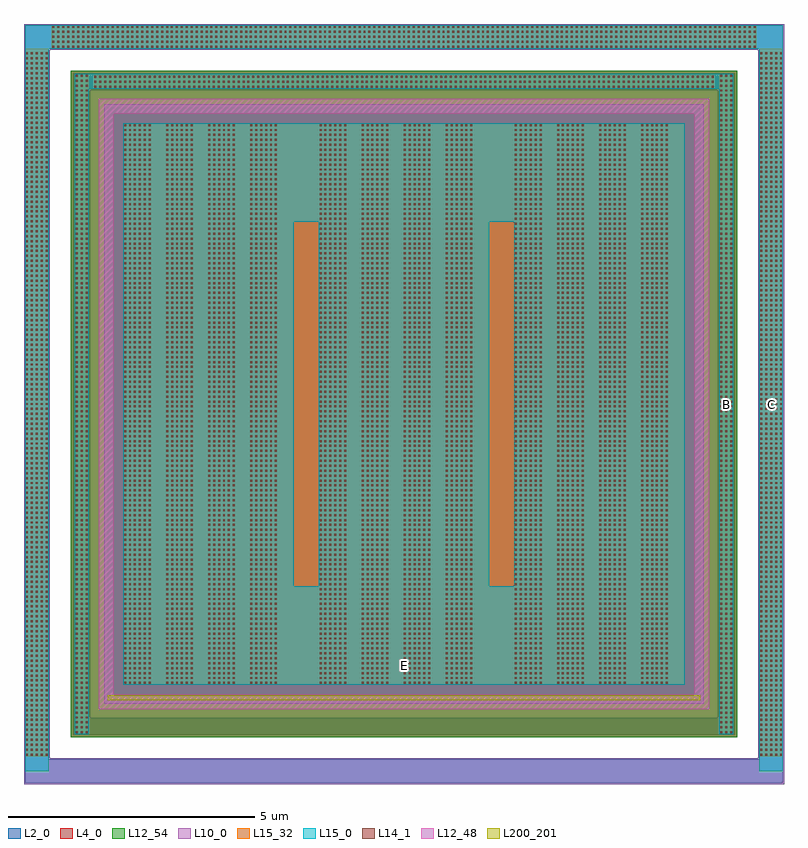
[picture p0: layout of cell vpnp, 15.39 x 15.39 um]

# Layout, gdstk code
import gdstk
lib = gdstk.Library(unit=1e-6, precision=1e-09)
def R(c, l, rs):  # rectangles x0, y0, x1, y1
    for r in rs: c.add(gdstk.rectangle(r[:2], r[2:], *l))
def A(c, l, x, y, w, h, nx, ny, dx, dy):  # array of equal rectangles
    R(c, l, [(x+i*dx, y+j*dy, x+i*dx+w, y+j*dy+h) for i in range(nx) for j in range(ny)])
L2_0 = (2, 0)
L4_0 = (4, 0)
L10_0 = (10, 0)
L12_48 = (12, 48)
L12_54 = (12, 54)
L14_1 = (14, 1)
L15_0 = (15, 0)
L15_32 = (15, 32)
L200_201 = (200, 201)

vpnp = lib.new_cell('vpnp')
R(vpnp, L2_0, [(-14.179,-6.209,1.173,-5.729), (-14.179,-5.729,-13.699,8.663), (0.693,-5.729,1.173,8.663), (-13.199,-5.229,0.193,-4.889), (-13.199,-4.889,-12.859,7.823), (-0.147,-4.889,0.193,7.823), (-12.503,-4.533,-0.503,7.467), (-13.199,7.823,0.193,8.163), (-14.179,8.663,1.173,9.143)])
R(vpnp, L4_0, [(-13.255,-5.285,0.249,8.219)])
R(vpnp, L10_0, [(-14.2,-6.23,1.194,-5.708), (-14.2,-5.708,-13.678,8.642), (0.672,-5.708,1.194,8.642), (-12.573,-4.603,-0.433,7.537), (-14.2,8.642,1.194,9.164)])
R(vpnp, L12_48, [(-12.684,-4.714,-0.322,-4.408), (-12.684,-4.408,-12.378,7.342), (-0.628,-4.408,-0.322,7.342), (-12.684,7.342,-0.322,7.648)])
R(vpnp, L12_54, [(-13.255,-5.285,0.249,8.219)])
A(vpnp, L14_1, -14.159, -5.653, 0.04, 0.04, 5, 143, 0.1, 0.1)
A(vpnp, L14_1, 0.713, -5.653, 0.04, 0.04, 5, 143, 0.1, 0.1)
A(vpnp, L14_1, -13.149, -5.203, 0.04, 0.04, 3, 134, 0.1, 0.1)
A(vpnp, L14_1, -0.097, -5.203, 0.04, 0.04, 3, 134, 0.1, 0.1)
A(vpnp, L14_1, -12.173, -4.203, 0.04, 0.04, 6, 114, 0.1, 0.1)
A(vpnp, L14_1, -11.321, -4.203, 0.04, 0.04, 6, 114, 0.1, 0.1)
A(vpnp, L14_1, -10.469, -4.203, 0.04, 0.04, 6, 114, 0.1, 0.1)
A(vpnp, L14_1, -9.617, -4.203, 0.04, 0.04, 6, 114, 0.1, 0.1)
A(vpnp, L14_1, -8.214, -4.203, 0.04, 0.04, 6, 114, 0.1, 0.1)
A(vpnp, L14_1, -7.362, -4.203, 0.04, 0.04, 6, 114, 0.1, 0.1)
A(vpnp, L14_1, -6.51, -4.203, 0.04, 0.04, 6, 114, 0.1, 0.1)
A(vpnp, L14_1, -5.658, -4.203, 0.04, 0.04, 6, 114, 0.1, 0.1)
A(vpnp, L14_1, -4.255, -4.203, 0.04, 0.04, 6, 114, 0.1, 0.1)
A(vpnp, L14_1, -3.403, -4.203, 0.04, 0.04, 6, 114, 0.1, 0.1)
A(vpnp, L14_1, -2.551, -4.203, 0.04, 0.04, 6, 114, 0.1, 0.1)
A(vpnp, L14_1, -1.699, -4.203, 0.04, 0.04, 6, 114, 0.1, 0.1)
A(vpnp, L14_1, -12.773, 7.873, 0.04, 0.04, 126, 3, 0.1, 0.1)
A(vpnp, L14_1, -13.623, 8.683, 0.04, 0.04, 143, 5, 0.1, 0.1)
A(vpnp, L15_0, -12.191, -2.221, 3.458, 7.376, 3, 1, 3.959, 0)
R(vpnp, L15_0, [(-14.177,-5.969,-13.701,9.141), (0.695,-5.969,1.171,9.141), (-13.167,-5.221,-12.891,8.155), (-0.115,-5.221,0.161,8.155), (-12.191,-4.221,-0.815,-2.221), (-12.191,5.155,-0.815,7.155), (-12.891,7.855,-0.115,8.155), (-13.701,8.665,0.695,9.141)])
R(vpnp, L15_32, [(-14.177,-5.671,-13.701,8.665), (0.695,-5.671,1.171,8.665), (-13.167,-5.221,-12.891,8.155), (-0.115,-5.221,0.161,8.155), (-12.191,-4.221,-0.815,7.155), (-12.791,7.855,-0.215,8.131), (-13.641,8.665,0.635,9.141)])
R(vpnp, L200_201, [(-12.503,-4.533,-0.503,-4.433)])
vpnp.add(gdstk.Label('E', (-6.503,-3.833), layer=15, texttype=20))
vpnp.add(gdstk.Label('B', (0.023,1.467), layer=15, texttype=20))
vpnp.add(gdstk.Label('C', (0.933,1.467), layer=15, texttype=20))

lib.write_gds('vpnp.gds')
